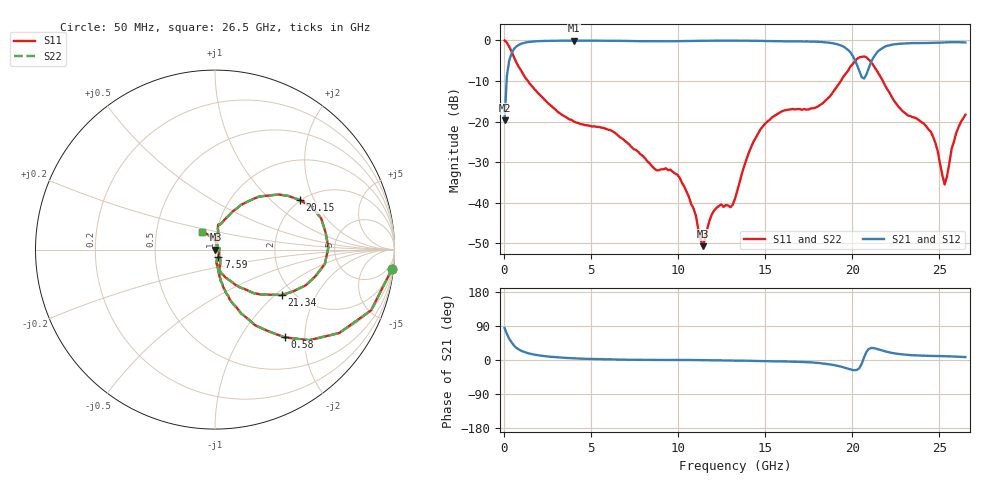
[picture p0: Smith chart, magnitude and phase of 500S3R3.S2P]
!  American Technical Ceramics  Date:  3/6/98
!  One Norden Lane
!  Huntington Station,  NY.  11746-2102
!  Tel:  (516) 547-5700  Fax:  (516) 547-5748
!  Part Number  500S3R3
!  Description: Broadband Microwave capacitor
!  Application:
# GHZ S DB R 50
! Freq  |S11|  S11 Ph  |S21|  S21 Ph  |S12|  S12 Ph  |S22|  S22 Ph
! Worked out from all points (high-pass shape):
!   201 points, 50 MHz to 26.5 GHz, reference 50 ohm
!   highest |S21| = -0.09 dB at 4.02 GHz (marker M1); lowest = -19.7 dB at 50 MHz (marker M2)
!   |S21| within 3 dB of the highest: 465.1 MHz to 19.92 GHz (19.45 GHz wide, 191 % of centre); 21.41 GHz to end of sweep
!   lowest |S11| = -50.7 dB at 11.42 GHz (marker M3), VSWR 1.01, Z = 50.3 - j0.0908 ohm
!   |S11| at or under -10 dB: 1.383 GHz to 19.36 GHz (17.97 GHz wide, 173 % of centre); 21.76 GHz to end of sweep
!   |S22| runs from -50.7 to -0.1 dB; largest |S21 - S12| = 0
!   S11 on the Smith chart (normalised r, x): 50 MHz: 1, -19; 580 MHz: 1.00, -1.59; 7.59 GHz: 1.03, -0.08; 20.15 GHz: 1.97, +1.56; 21.34 GHz: 1.73, -1.10; 26.5 GHz: 0.85, +0.16
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0.05  -0.06 -6.1  -19.67 84.4  -19.67 84.4  -0.06 -6.1
0.18  -0.60 -21.3  -8.87 69.0  -8.87 69.0  -0.60 -21.3
0.58  -4.10 -51.6  -2.18 38.5  -2.18 38.5  -4.10 -51.6
1.5  -10.73 -73.5  -0.41 16.8  -0.41 16.8  -10.73 -73.5
4.02  -20.00 -81.7  -0.09 4.5  -0.09 4.5  -20.00 -81.7
4.55  -20.73 -81.9  -0.11 3.4  -0.11 3.4  -20.73 -81.9
7.59  -27.00 -65.5  -0.23 0.4  -0.23 0.4  -27.00 -65.5
8.91  -32.01 -6.1  -0.24 0.1  -0.24 0.1  -32.01 -6.1
10.1  -33.85 26.8  -0.23 0.1  -0.23 0.1  -33.85 26.8
11.42  -50.67 -18.0  -0.14 -0.3  -0.14 -0.3  -50.67 -18.0
12.08  -41.89 -65.7  -0.12 -0.7  -0.12 -0.7  -41.89 -65.7
13.28  -38.92 28.4  -0.12 -1.4  -0.12 -1.4  -38.92 28.4
14.99  -20.61 79.5  -0.19 -3.1  -0.19 -3.1  -20.61 79.5
17.77  -16.74 77.8  -0.33 -6.7  -0.33 -6.7  -16.74 77.8
19.23  -10.80 59.8  -1.10 -16.0  -1.10 -16.0  -10.80 59.8
20.15  -5.24 30.3  -4.80 -27.1  -4.80 -27.1  -5.24 30.3
20.68  -3.99 1.1  -9.45 6.6  -9.45 6.6  -3.99 1.1
21.34  -6.96 -34.3  -3.52 30.4  -3.52 30.4  -6.96 -34.3
22.14  -12.89 -59.8  -1.25 20.2  -1.25 20.2  -12.89 -59.8
24.52  -22.54 -66.5  -0.64 10.7  -0.64 10.7  -22.54 -66.5
25.31  -35.51 16.2  -0.56 10.2  -0.56 10.2  -35.51 16.2
26.5  -18.32 128.0  -0.56 7.8  -0.56 7.8  -18.32 128.0
